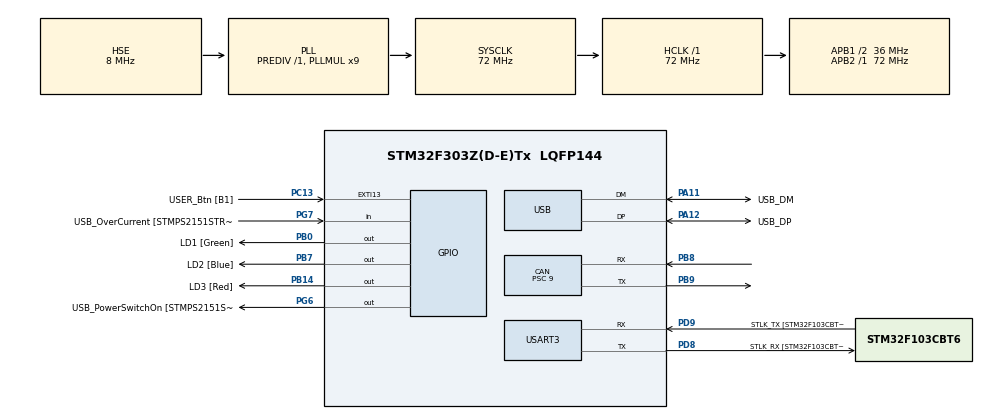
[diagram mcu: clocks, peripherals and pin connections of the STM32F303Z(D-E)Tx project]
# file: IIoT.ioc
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CAN.BS1=CAN_BS1_9TQ
CAN.BS2=CAN_BS2_6TQ
CAN.CalculateBaudRate=250000
CAN.CalculateTimeBit=4000
CAN.CalculateTimeQuantum=250.0
CAN.Mode=CAN_MODE_NORMAL
CAN.Prescaler=9
Mcu.Family=STM32F3
Mcu.Name=STM32F303Z(D-E)Tx
Mcu.Package=LQFP144
NVIC.PriorityGroup=NVIC_PRIORITYGROUP_4
NVIC.USB_LP_CAN_RX0_IRQn=true\:0\:0\:false\:false\:true\:true\:true\:true
PA11.GPIO_Label=USB_DM
PA11.Mode=Device
PA11.Signal=USB_DM
PA12.GPIO_Label=USB_DP
PA12.Mode=Device
PA12.Signal=USB_DP
PA13.GPIO_Label=TMS
PA13.Mode=Serial_Wire
PA13.Signal=SYS_JTMS-SWDIO
PA14.GPIO_Label=TCK
PA14.Mode=Serial_Wire
PA14.Signal=SYS_JTCK-SWCLK
PB0.GPIO_Label=LD1 [Green]
PB0.Signal=GPIO_Output
PB14.GPIO_Label=LD3 [Red]
PB14.Signal=GPIO_Output
PB3.GPIO_Label=SWO
PB3.Signal=SYS_JTDO-TRACESWO
PB7.GPIO_Label=LD2 [Blue]
PB7.Signal=GPIO_Output
PB8.Mode=CAN_Activate
PB8.Signal=CAN_RX
PB9.Mode=CAN_Activate
PB9.Signal=CAN_TX
PC13.GPIO_Label=USER_Btn [B1]
PC13.Signal=GPXTI13
PC14-OSC32_IN.Mode=LSE-External-Oscillator
PC14-OSC32_IN.Signal=RCC_OSC32_IN
PC15-OSC32_OUT.Mode=LSE-External-Oscillator
PC15-OSC32_OUT.Signal=RCC_OSC32_OUT
PD8.GPIO_Label=STLK_RX [STM32F103CBT6_PA3]
PD8.Mode=Asynchronous
PD8.Signal=USART3_TX
PD9.GPIO_Label=STLK_TX [STM32F103CBT6_PA2]
PD9.Mode=Asynchronous
PD9.Signal=USART3_RX
PF0-OSC_IN.GPIO_Label=MCO [STM32F103CBT6_PA8]
PF0-OSC_IN.Mode=HSE-External-Clock-Source
PF0-OSC_IN.Signal=RCC_OSC_IN
PG6.GPIO_Label=USB_PowerSwitchOn [STMPS2151STR_EN]
PG6.Signal=GPIO_Output
PG7.GPIO_Label=USB_OverCurrent [STMPS2151STR_FAULT]
PG7.Signal=GPIO_Input
ProjectManager.HeapSize=0x200
ProjectManager.StackSize=0x400
ProjectManager.TargetToolchain=STM32CubeIDE
RCC.AHBFreq_Value=72000000
RCC.APB1CLKDivider=RCC_HCLK_DIV2
RCC.APB1Freq_Value=36000000
RCC.APB1TimFreq_Value=72000000
RCC.APB2Freq_Value=72000000
RCC.APB2TimFreq_Value=72000000
RCC.CortexFreq_Value=72000000
RCC.HCLKFreq_Value=72000000
RCC.HSE_VALUE=8000000
RCC.HSI_VALUE=8000000
RCC.PLLMUL=RCC_PLL_MUL9
RCC.PRESCALERUSB=RCC_USBCLKSOURCE_PLL_DIV1_5
RCC.SYSCLKFreq_VALUE=72000000
RCC.SYSCLKSourceVirtual=RCC_SYSCLKSOURCE_PLLCLK
RCC.USBFreq_Value=48000000
USART3.VirtualMode-Asynchronous=VM_ASYNC
VP_RTC_VS_RTC_Activate.Mode=RTC_Enabled
board=NUCLEO-F303ZE

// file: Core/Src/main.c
/* USER CODE BEGIN Header */
/**
  ******************************************************************************
  * @file           : main.c
  * @brief          : Main program body
  ******************************************************************************
  * @attention
  *
  * Copyright (c) 2024 STMicroelectronics.
  * All rights reserved.
  *
  * This software is licensed under terms that can be found in the LICENSE file
  * in the root directory of this software component.
  * If no LICENSE file comes with this software, it is provided AS-IS.
  *
  ******************************************************************************
  */
/* USER CODE END Header */
#include "main.h"
#include "can.h"
#include "rtc.h"
#include "usart.h"
#include "usb.h"
#include "gpio.h"

/* USER CODE BEGIN PV */
const uint8_t ID_NODO = 0x08;

/* USER CODE END PV */

void SystemClock_Config(void);
/* USER CODE BEGIN PFP */
void HAL_CAN_RxFifo0MsgPendingCallback(CAN_HandleTypeDef *hcan);
void toggleLED(uint16_t delay);

/* USER CODE END PFP */

int main(void)
{

  /* MCU Configuration--------------------------------------------------------*/

  /* Reset of all peripherals, Initializes the Flash interface and the Systick. */
  HAL_Init();

  /* Configure the system clock */
  SystemClock_Config();

  /* Initialize all configured peripherals */
  MX_GPIO_Init();
  MX_RTC_Init();
  MX_USART3_UART_Init();
  MX_USB_PCD_Init();
  MX_CAN_Init();
  /* USER CODE BEGIN 2 */
  CAN_Configurar_Filtrado();

  if (HAL_CAN_ActivateNotification(&hcan, CAN_IT_RX_FIFO0_MSG_PENDING) != HAL_OK) {
	  Error_Handler();
  }

  if (HAL_CAN_Start(&hcan) != HAL_OK) {
	   /* Start Error */
	   Error_Handler();
   }

  /* USER CODE END 2 */

  /* Infinite loop */
  while (1)
  {

    /* USER CODE BEGIN 3 */
	  uint32_t data1[2] = {0x02, 0xD0};			// Hex: 0x2D0; Decimal: 720; Binario: 0010 1101 0000
	  uint32_t data2[2] = {0x02, 0xD2};
	  CAN_TX(ID_NODO + 2, CAN_ID_STD, CAN_RTR_DATA, 2, data2);
	  CAN_TX(ID_NODO, CAN_ID_STD, CAN_RTR_DATA, 2, data1);
	  if(getDelay() != 0){
		  for (uint8_t ii = 0; ii < 3; ii++){
			  toggleLED(getDelay());
		  }
	  }
	  setDelay(0);
	  HAL_Delay(1000);
  }
  /* USER CODE END 3 */
}

void SystemClock_Config(void)
{
  RCC_OscInitTypeDef RCC_OscInitStruct = {0};
  RCC_ClkInitTypeDef RCC_ClkInitStruct = {0};
  RCC_PeriphCLKInitTypeDef PeriphClkInit = {0};

  /** Initializes the RCC Oscillators according to the specified parameters
  * in the RCC_OscInitTypeDef structure.
  */
  RCC_OscInitStruct.OscillatorType = RCC_OSCILLATORTYPE_LSI|RCC_OSCILLATORTYPE_HSE;
  RCC_OscInitStruct.HSEState = RCC_HSE_BYPASS;
  RCC_OscInitStruct.HSIState = RCC_HSI_ON;
  RCC_OscInitStruct.LSIState = RCC_LSI_ON;
  RCC_OscInitStruct.PLL.PLLState = RCC_PLL_ON;
  RCC_OscInitStruct.PLL.PLLSource = RCC_PLLSOURCE_HSE;
  RCC_OscInitStruct.PLL.PLLMUL = RCC_PLL_MUL9;
  RCC_OscInitStruct.PLL.PREDIV = RCC_PREDIV_DIV1;
  if (HAL_RCC_OscConfig(&RCC_OscInitStruct) != HAL_OK)
  {
    Error_Handler();
  }

  /** Initializes the CPU, AHB and APB buses clocks
  */
  RCC_ClkInitStruct.ClockType = RCC_CLOCKTYPE_HCLK|RCC_CLOCKTYPE_SYSCLK
                              |RCC_CLOCKTYPE_PCLK1|RCC_CLOCKTYPE_PCLK2;
  RCC_ClkInitStruct.SYSCLKSource = RCC_SYSCLKSOURCE_PLLCLK;
  RCC_ClkInitStruct.AHBCLKDivider = RCC_SYSCLK_DIV1;
  RCC_ClkInitStruct.APB1CLKDivider = RCC_HCLK_DIV2;
  RCC_ClkInitStruct.APB2CLKDivider = RCC_HCLK_DIV1;

  if (HAL_RCC_ClockConfig(&RCC_ClkInitStruct, FLASH_LATENCY_2) != HAL_OK)
  {
    Error_Handler();
  }
  PeriphClkInit.PeriphClockSelection = RCC_PERIPHCLK_USB|RCC_PERIPHCLK_USART3
                              |RCC_PERIPHCLK_RTC;
  PeriphClkInit.Usart3ClockSelection = RCC_USART3CLKSOURCE_PCLK1;
  PeriphClkInit.RTCClockSelection = RCC_RTCCLKSOURCE_LSI;
  PeriphClkInit.USBClockSelection = RCC_USBCLKSOURCE_PLL_DIV1_5;
  if (HAL_RCCEx_PeriphCLKConfig(&PeriphClkInit) != HAL_OK)
  {
    Error_Handler();
  }
}

/* USER CODE BEGIN 4 */
void HAL_CAN_RxFifo0MsgPendingCallback(CAN_HandleTypeDef *hcan)
{
	CAN_RX();
}

void toggleLED(uint16_t delay) {
	HAL_GPIO_WritePin(LD1_GPIO_Port, LD1_Pin, GPIO_PIN_SET);
	HAL_Delay(delay);
	HAL_GPIO_WritePin(LD1_GPIO_Port, LD1_Pin, GPIO_PIN_RESET);
	HAL_Delay(delay);
}

/* USER CODE END 4 */

void Error_Handler(void)
{
  __disable_irq();
  while (1)
  {
  }
}
